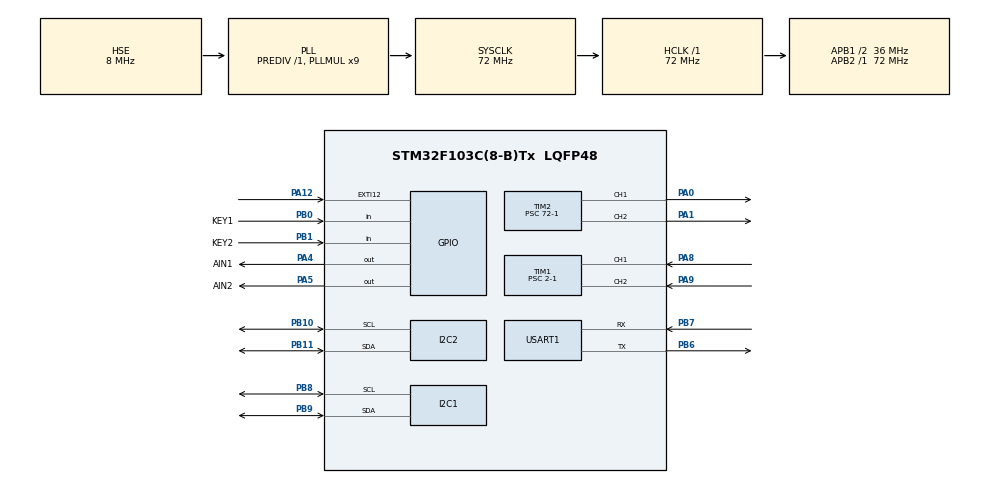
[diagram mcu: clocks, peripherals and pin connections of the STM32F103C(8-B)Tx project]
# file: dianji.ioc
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I2C1.I2C_Mode=I2C_Fast
I2C2.I2C_Mode=I2C_Fast
Mcu.Family=STM32F1
Mcu.Name=STM32F103C(8-B)Tx
Mcu.Package=LQFP48
NVIC.PriorityGroup=NVIC_PRIORITYGROUP_4
NVIC.TIM3_IRQn=true\:0\:0\:false\:false\:true\:true\:true\:true
PA0-WKUP.Signal=S_TIM2_CH1_ETR
PA1.Signal=S_TIM2_CH2
PA12.GPIO_ModeDefaultEXTI=GPIO_MODE_EVT_FALLING
PA12.Signal=GPXTI12
PA13.Mode=Serial_Wire
PA13.Signal=SYS_JTMS-SWDIO
PA14.Mode=Serial_Wire
PA14.Signal=SYS_JTCK-SWCLK
PA4.GPIO_Label=AIN1
PA4.Signal=GPIO_Output
PA5.GPIO_Label=AIN2
PA5.Signal=GPIO_Output
PA8.Signal=S_TIM1_CH1
PA9.Signal=S_TIM1_CH2
PB0.GPIO_Label=KEY1
PB0.GPIO_PuPd=GPIO_PULLDOWN
PB0.Signal=GPIO_Input
PB1.GPIO_Label=KEY2
PB1.GPIO_PuPd=GPIO_PULLDOWN
PB1.Signal=GPIO_Input
PB10.Mode=I2C
PB10.Signal=I2C2_SCL
PB11.Mode=I2C
PB11.Signal=I2C2_SDA
PB6.Mode=Asynchronous
PB6.Signal=USART1_TX
PB7.Mode=Asynchronous
PB7.Signal=USART1_RX
PB8.Mode=I2C
PB8.Signal=I2C1_SCL
PB9.Mode=I2C
PB9.Signal=I2C1_SDA
PD0-OSC_IN.Mode=HSE-External-Oscillator
PD0-OSC_IN.Signal=RCC_OSC_IN
PD1-OSC_OUT.Mode=HSE-External-Oscillator
PD1-OSC_OUT.Signal=RCC_OSC_OUT
ProjectManager.HeapSize=0x200
ProjectManager.StackSize=0x400
ProjectManager.TargetToolchain=CMake
RCC.AHBFreq_Value=72000000
RCC.APB1CLKDivider=RCC_HCLK_DIV2
RCC.APB1Freq_Value=36000000
RCC.APB1TimFreq_Value=72000000
RCC.APB2Freq_Value=72000000
RCC.APB2TimFreq_Value=72000000
RCC.HCLKFreq_Value=72000000
RCC.PLLMUL=RCC_PLL_MUL9
RCC.PLLSourceVirtual=RCC_PLLSOURCE_HSE
RCC.SYSCLKFreq_VALUE=72000000
RCC.SYSCLKSource=RCC_SYSCLKSOURCE_PLLCLK
RCC.USBFreq_Value=72000000
SH.S_TIM1_CH1.0=TIM1_CH1,Encoder_Interface
SH.S_TIM1_CH2.0=TIM1_CH2,Encoder_Interface
SH.S_TIM2_CH1_ETR.0=TIM2_CH1,PWM Generation1 CH1
SH.S_TIM2_CH2.0=TIM2_CH2,PWM Generation2 CH2
TIM1.Prescaler=2-1
TIM2.AutoReloadPreload=TIM_AUTORELOAD_PRELOAD_ENABLE
TIM2.Channel-PWM\ Generation1\ CH1=TIM_CHANNEL_1
TIM2.Channel-PWM\ Generation2\ CH2=TIM_CHANNEL_2
TIM2.Period=100-1
TIM2.Prescaler=72-1
TIM3.Period=1000-1
TIM3.Prescaler=72-1
USART1.VirtualMode=VM_ASYNC
VP_TIM2_VS_ClockSourceINT.Mode=Internal
VP_TIM3_VS_ClockSourceINT.Mode=Internal
board=custom

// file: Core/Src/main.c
/* USER CODE BEGIN Header */
/**
  ******************************************************************************
  * @file           : main.c
  * @brief          : Main program body
  ******************************************************************************
  * @attention
  *
  * Copyright (c) 2026 STMicroelectronics.
  * All rights reserved.
  *
  * This software is licensed under terms that can be found in the LICENSE file
  * in the root directory of this software component.
  * If no LICENSE file comes with this software, it is provided AS-IS.
  *
  ******************************************************************************
  */
/* USER CODE END Header */
#include "main.h"
#include "i2c.h"
#include "tim.h"
#include "usart.h"
#include "gpio.h"

/* USER CODE BEGIN Includes */
#include "ins.h"
#include "stdio.h"
#include "string.h"
#include "OLED.h"
#include "PID.h"
#include "Motor.h"
/* USER CODE END Includes */

/* USER CODE BEGIN PD */
#define  SPEED_FULL_SCALE 54.0 //一轮满速度计数
/* USER CODE END PD */

/* USER CODE BEGIN PV */
uint32_t last = 0;
int set = 0;
int16_t Speed;
int i,o;
//int16_t difference = 0;
PID_t angle = {
  .Kp = 1.8,
  .Ki = 0,
  .Kd = 0.2,
  .outmax = 100,
  .outmin = -100,
};
PID_t speed = {
  .Kp = 1.6,
  .Ki = 0,
  .Kd = 0,
  .outmax = 50,
  .outmin = -50,
};
// PID_t place = {
//   .Kp = 0.5,
//   .Ki  =0.01,
//   .Kd = 0.2,
//   .outmax = 100,
//   .outmin = -100,
// };

/* USER CODE END PV */

void SystemClock_Config(void);

int main(void)
{

  /* MCU Configuration--------------------------------------------------------*/

  /* Reset of all peripherals, Initializes the Flash interface and the Systick. */
  HAL_Init();

  /* Configure the system clock */
  SystemClock_Config();

  /* Initialize all configured peripherals */
  MX_GPIO_Init();
  MX_TIM2_Init();
  MX_TIM1_Init();
  MX_USART1_UART_Init();
  MX_TIM3_Init();
  MX_I2C1_Init();
  MX_I2C2_Init();
  /* USER CODE BEGIN 2 */
  OLED_Init();
  ins_init();
  HAL_TIM_Base_Start_IT(&htim3);
  HAL_TIM_PWM_Start(&htim2, TIM_CHANNEL_1);
  HAL_TIM_Encoder_Start(&htim1, TIM_CHANNEL_ALL);
  /* USER CODE END 2 */

  /* Infinite loop */
  /* USER CODE BEGIN WHILE */
  ins_data_t *ins = ins_data();
  char buff[256];
  OLED_Clear();
  __HAL_TIM_SET_COUNTER(&htim1, 0);
  if (HAL_GPIO_ReadPin(GPIOB, GPIO_PIN_0) == GPIO_PIN_RESET) {//和屏幕的交互
    o = 1;//本来觉得可以直接if（按钮状态），但是有问题，所以加入中间变量。
  }
  if (o = 1) {
    while (HAL_GPIO_ReadPin(GPIOB, GPIO_PIN_0) == GPIO_PIN_RESET){}
    if (HAL_GPIO_ReadPin(GPIOB, GPIO_PIN_0) == GPIO_PIN_SET) {
      while (HAL_GPIO_ReadPin(GPIOB, GPIO_PIN_0) == GPIO_PIN_SET){}
      OLED_ShowString(10, 0, "please select mode", 12, 0);
      OLED_ShowString(2, 5, "mode1", 12, 0);
      OLED_ShowString(60, 5, "Stay tuned", 12, 0);//敬请期待
      for (i = 0; i <= 100; i++);
    }

    while (HAL_GPIO_ReadPin(GPIOB, GPIO_PIN_0) == GPIO_PIN_RESET){}//目前只有一个模式，所以只等待B0
    if (HAL_GPIO_ReadPin(GPIOB, GPIO_PIN_0) == GPIO_PIN_SET) {
      OLED_Clear();
      for (i = 0; i <= 50; i++)//保持显示50ms
      {
        OLED_ShowString(20, 3, "mode1-balance", 16, 0);
      }
      OLED_Clear();
      o = 0;
    }
  }
  while (1) {
    if (HAL_GPIO_ReadPin(GPIOB, GPIO_PIN_0) == GPIO_PIN_SET) {//改变角度
      //set = 1;
      angle.target = 50;
      while (HAL_GPIO_ReadPin(GPIOB, GPIO_PIN_0) == GPIO_PIN_SET);
    }
    if (HAL_GPIO_ReadPin(GPIOB, GPIO_PIN_1) == GPIO_PIN_SET) {//恢复水平
      //set = 0;
      angle.target = 0;
      while (HAL_GPIO_ReadPin(GPIOB, GPIO_PIN_1) == GPIO_PIN_SET);
    }
    ins_update();

    HAL_UART_Transmit(&huart1, (uint8_t *)buff, strlen(buff), HAL_MAX_DELAY);
    //if (set == 0) {
    OLED_Showdecimal(3, 1, angle.target, 3, 2, 12, 0);
    OLED_Showdecimal(3, 3, angle.actual, 3, 2, 12, 0);
    OLED_Showdecimal(3, 5, speed.target, 3, 2, 12, 0);
    OLED_Showdecimal(3, 7, speed.actual, 3, 2, 12, 0);
    //}
    // if (set == 1) {
    //   OLED_Showdecimal(3, 1, place.target, 3, 2, 12, 0);
    //   OLED_Showdecimal(3, 3, place.actual, 3, 2, 12, 0);
    //   OLED_Showdecimal(3, 5, speed.target, 3, 2, 12, 0);
    //   OLED_Showdecimal(3, 7, speed.actual, 3, 2, 12, 0);
    // }
    if (HAL_GetTick() - last >= 20){
      uint32_t t=HAL_GetTick();
      last = t;
      sprintf(buff, "%.3f, %.3f, %.3f, %.2f, %.2f, %.2f, %.2f\n",
              ins->roll, ins->pitch, ins->yaw,                        // 姿态角 °
              angle.target, angle.actual, speed.target, speed.actual);// PID：目标角度，实际角度，实际速度，目标速度

    }
    /* USER CODE END WHILE */

  }
}

void SystemClock_Config(void)
{
  RCC_OscInitTypeDef RCC_OscInitStruct = {0};
  RCC_ClkInitTypeDef RCC_ClkInitStruct = {0};

  /** Initializes the RCC Oscillators according to the specified parameters
  * in the RCC_OscInitTypeDef structure.
  */
  RCC_OscInitStruct.OscillatorType = RCC_OSCILLATORTYPE_HSE;
  RCC_OscInitStruct.HSEState = RCC_HSE_ON;
  RCC_OscInitStruct.HSEPredivValue = RCC_HSE_PREDIV_DIV1;
  RCC_OscInitStruct.HSIState = RCC_HSI_ON;
  RCC_OscInitStruct.PLL.PLLState = RCC_PLL_ON;
  RCC_OscInitStruct.PLL.PLLSource = RCC_PLLSOURCE_HSE;
  RCC_OscInitStruct.PLL.PLLMUL = RCC_PLL_MUL9;
  if (HAL_RCC_OscConfig(&RCC_OscInitStruct) != HAL_OK)
  {
    Error_Handler();
  }

  /** Initializes the CPU, AHB and APB buses clocks
  */
  RCC_ClkInitStruct.ClockType = RCC_CLOCKTYPE_HCLK|RCC_CLOCKTYPE_SYSCLK
                              |RCC_CLOCKTYPE_PCLK1|RCC_CLOCKTYPE_PCLK2;
  RCC_ClkInitStruct.SYSCLKSource = RCC_SYSCLKSOURCE_PLLCLK;
  RCC_ClkInitStruct.AHBCLKDivider = RCC_SYSCLK_DIV1;
  RCC_ClkInitStruct.APB1CLKDivider = RCC_HCLK_DIV2;
  RCC_ClkInitStruct.APB2CLKDivider = RCC_HCLK_DIV1;

  if (HAL_RCC_ClockConfig(&RCC_ClkInitStruct, FLASH_LATENCY_2) != HAL_OK)
  {
    Error_Handler();
  }
}

/* USER CODE BEGIN 4 */
 void HAL_TIM_PeriodElapsedCallback(TIM_HandleTypeDef *htim) {
     static uint16_t Count1 = 0, Count2 = 0;
     if (htim->Instance != TIM3) {
      return;
     }
    //if (set == 0) {//雪糕棒保持水平
      if (Count1++ >= 40)//每40ms一次
      {
        Count1 = 0;
        angle.actual = ins_data()->roll;
        PID_Update(&angle);
        if(angle.errorint < -500) {angle.errorint = -500;}
        if(angle.errorint >  500) {angle.errorint =  500;}
        //防止速度过小，导致pwm过小，电机转不起来
        if (angle.out >  0.1 && angle.out <  5) angle.out =  5;
        if (angle.out < -0.1 && angle.out > -5) angle.out = -5;
        speed.target = angle.out;
      }
      if (Count2++ >= 40)//每40ms一次
      {
        Count2 = 0;
        Speed = __HAL_TIM_GET_COUNTER(&htim1);//只记录一轮的数
        __HAL_TIM_SET_COUNTER(&htim1, 0);
        speed.actual = Speed*100.0 / SPEED_FULL_SCALE;
        PID_Update(&speed);
        if(speed.errorint < -500) {speed.errorint = -500;}
        if(speed.errorint >  500) {speed.errorint =  500;}
      }
      if (speed.target == 0) {speed.errorint = 0;}
      if (speed.out >  0.1 && speed.out <  10) {speed.out =  10;}
      if (speed.out < -0.1 && speed.out > -10) {speed.out = -10;}
      Motor_Set(speed.out);
    //}
    // if (set == 1) {//本来想着反过来电机保持水平，暂时还没搞明白，先留着
    //   if (++Count1 >= 40)//每40ms一次
    //   {
    //     Count1 = 0;
    //     place.target = ins_data()->roll / 360 * 540;
    //     place.actual = __HAL_TIM_GET_COUNTER(&htim1) - 500;
    //     PID_Update(&place);
    //     if(place.errorint < -500) {place.errorint = -500;}
    //     if(place.errorint >  500) {place.errorint =  500;}
    //     //防止速度过小，导致pwm过小，电机转不起来
    //     if (place.out >  0.1 && place.out <  5) place.out =  5;
    //     if (place.out < -0.1 && place.out > -5) place.out = -5;
    //     speed.target = place.out;
    //   }
    //   if (++Count2 >= 40)//每40ms一次
    //   {
    //     Count2 = 0;
    //     difference = __HAL_TIM_GET_COUNTER(&htim1) - Speed - 500;
    //     Speed = __HAL_TIM_GET_COUNTER(&htim1) - 500;
    //     //__HAL_TIM_SET_COUNTER(&htim1, 0);
    //     speed.actual = difference * 100.0 / SPEED_FULL_SCALE;
    //     PID_Update(&speed);
    //     if(speed.errorint < -500) {speed.errorint = -500;}
    //     if(speed.errorint >  500) {speed.errorint =  500;}
    //   }
    //   if (speed.target == 0) {speed.errorint = 0;}
    //   if (speed.out >  0.1 && speed.out <  10) {speed.out =  10;}
    //   if (speed.out < -0.1 && speed.out > -10) {speed.out = -10;}
    //   Motor_Set(speed.out);
    //   if (place.error0 > -5 && place.error0 < 5)   __HAL_TIM_SET_COUNTER(&htim1, 0);
    // }
 }
/* USER CODE END 4 */

void Error_Handler(void)
{
  __disable_irq();
  while (1)
  {
  }
}
